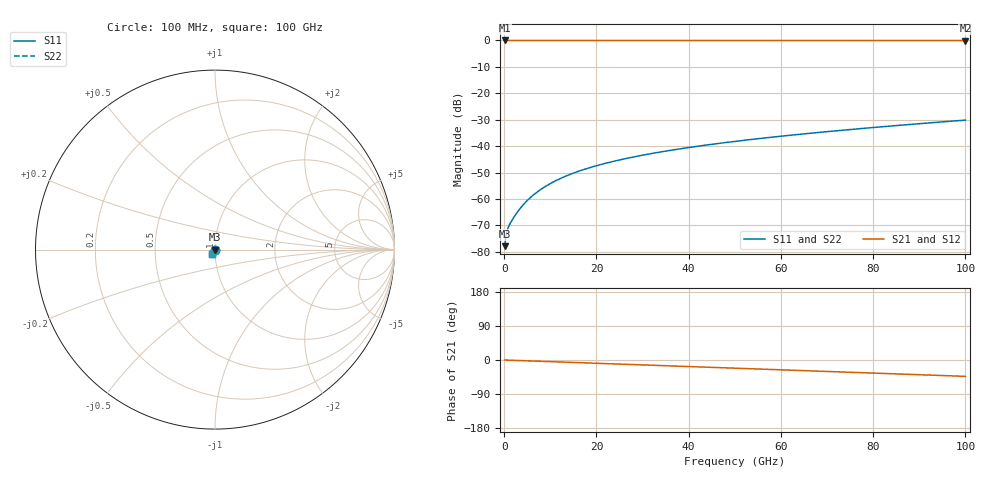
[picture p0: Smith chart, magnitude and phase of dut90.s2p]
! Touchstone file exported from HFSS 2026.1.0
!  File:  C:/ffzhzh/LocalFiles/Ansys_Project_Files/temp_train_TSV_90_1783505596_44152.aedt
!  Generated:  06:14:38 PM Jul  8, 2026
!  Design:  TSV
!  Project:  temp_train_TSV_90_1783505596_44152
! Variables:
!  h_bsmrdl = 2um
!  h_ox = 20um
!  h_rdl = 5um
!  h_sub = 88.29um
!  h_tmrdl = 5um
!  h_tsv = 88.29um
!  h_via = 3um
!  l_bsmrdl = 300um
!  l_sub = 421.44um
!  l_tmrdl = 200um
!  m_sub = 200um
!  pitch = 42.18um
!  r_tsv = 10.72um
!  s_tmrdl = 10um
!  w_bsmrdl = 18um
!  w_sub = 500um
!  w_tmrdl = 12um
!  x_tsv_center1 = 206um
!  x_tsv_center2 = 524um
!  x_tsv_center3 = 736um
!  x_tsv_center4 = 1054um
!  x_tsv_center5 = 1266um
!  x_tsv_center6 = 1584um
# GHz S MA R 50.000000
! Terminal data exported
! Port[1] = TSV1_1_T1
! Port[2] = TSV1_1_T2
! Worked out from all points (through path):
!   1000 points, 100 MHz to 100 GHz, reference 50 ohm
!   highest |S21| = 0.00 dB at 100 MHz (marker M1); lowest = 0.0 dB at 100 GHz (marker M2)
!   group delay of S21, straight-line fit = 1.2 ps
!   lowest |S11| = -77.9 dB at 100 MHz (marker M3), VSWR 1.00, Z = 50 + j0.00268 ohm
!   |S11| at or under -10 dB: start of sweep to end of sweep
!   |S22| runs from -77.9 to -30.2 dB; largest |S21 - S12| = 4.2e-15
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0.1  0.0001276 12.1  0.9999 -0.0  0.9999 -0.0  0.0001276 12.1
! Gamma 0 0 0 0
! Port Impedance 50 0 50 0
0.4  0.0001984 21.5  0.9998 -0.2  0.9998 -0.2  0.0001984 21.5
0.7  0.0002601 14.2  0.9997 -0.3  0.9997 -0.3  0.0002601 14.2
0.9  0.0002912 8.5  0.9997 -0.4  0.9997 -0.4  0.0002912 8.5
1.2  0.0003311 0.9  0.9997 -0.5  0.9997 -0.5  0.0003311 0.9
1.5  0.0003687 -5.6  0.9996 -0.7  0.9996 -0.7  0.0003687 -5.6
2.4  0.0004904 -20.8  0.9995 -1.1  0.9995 -1.1  0.0004904 -20.8
3.4  0.0006481 -32.9  0.9994 -1.5  0.9994 -1.5  0.0006482 -32.9
4.4  0.0008227 -41.8  0.9994 -1.9  0.9994 -1.9  0.0008228 -41.8
5.5  0.001027 -49.1  0.9993 -2.4  0.9993 -2.4  0.001027 -49.1
7.7  0.001463 -58.8  0.9992 -3.3  0.9992 -3.3  0.001463 -58.8
10.3  0.002019 -65.6  0.999 -4.5  0.999 -4.5  0.002019 -65.6
13.3  0.002688 -71.3  0.9989 -5.8  0.9989 -5.8  0.002689 -71.3
16.8  0.003494 -76.3  0.9987 -7.3  0.9987 -7.3  0.003495 -76.3
20.2  0.004298 -80.2  0.9986 -8.7  0.9986 -8.7  0.004298 -80.2
24.1  0.005244 -83.9  0.9985 -10.4  0.9985 -10.4  0.005245 -83.9
33.4  0.007614 -91.2  0.9982 -14.4  0.9982 -14.4  0.007615 -91.1
41.2  0.009731 -96.3  0.998 -17.7  0.998 -17.7  0.009733 -96.3
50.1  0.01231 -101.8  0.9977 -21.6  0.9977 -21.6  0.01231 -101.7
66.7  0.01763 -111.1  0.9973 -28.7  0.9973 -28.7  0.01764 -111.0
83.4  0.02384 -119.9  0.9968 -35.9  0.9968 -35.9  0.02384 -119.8
100  0.03106 -128.5  0.9961 -43.2  0.9961 -43.2  0.03107 -128.4
